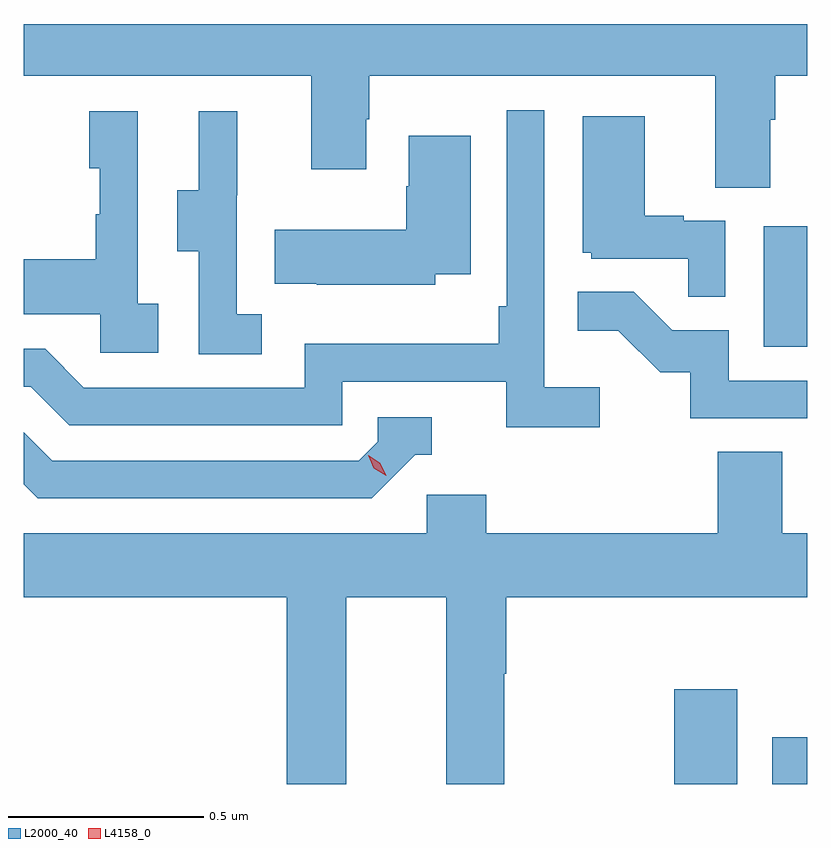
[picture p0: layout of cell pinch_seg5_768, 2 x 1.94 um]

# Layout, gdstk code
import gdstk
lib = gdstk.Library(unit=1e-6, precision=1e-09)
def R(c, l, rs):  # rectangles x0, y0, x1, y1
    for r in rs: c.add(gdstk.rectangle(r[:2], r[2:], *l))
def P(c, l, *ps):  # polygons
    for p in ps: c.add(gdstk.Polygon(p, *l))
L2000_40 = (2000, 40)
L4158_0 = (4158, 0)

pinch_seg5_768 = lib.new_cell('pinch_seg5_768')
R(pinch_seg5_768, L2000_40, [(854.222,913.559,854.383,913.801), (854.472,913.559,854.561,913.678), (854.45,914.676,854.561,914.983)])
P(pinch_seg5_768, L2000_40, [(854.467,915.256),(854.48,915.256),(854.48,915.368),(854.561,915.368),(854.561,915.5),(852.561,915.5),(852.561,915.368),(853.295,915.368),(853.295,915.129),(853.435,915.129),(853.435,915.257),(853.443,915.257),(853.443,915.368),(854.327,915.368),(854.327,915.082),(854.467,915.082)],
  [(854.032,914.572),(853.89,914.572),(853.89,915.28),(853.794,915.28),(853.794,914.779),(853.774,914.779),(853.774,914.683),(853.278,914.683),(853.278,914.571),(852.714,914.571),(852.615,914.67),(852.561,914.67),(852.561,914.574),(852.578,914.574),(852.677,914.475),(853.374,914.475),(853.374,914.586),(853.793,914.586),(853.793,914.47),(854.032,914.47)],
  [(853.168,914.759),(853.104,914.759),(853.104,915.063),(853.106,915.063),(853.106,915.277),(853.007,915.277),(853.007,915.075),(852.953,915.075),(852.953,914.92),(853.008,914.92),(853.008,914.656),(853.168,914.656)],
  [(852.904,914.786),(852.852,914.786),(852.852,915.277),(852.728,915.277),(852.728,915.132),(852.754,915.132),(852.754,915.014),(852.744,915.014),(852.744,914.899),(852.561,914.899),(852.561,914.759),(852.756,914.759),(852.756,914.661),(852.904,914.661)],
  [(854.352,914.997),(854.246,914.997),(854.246,915.01),(854.146,915.01),(854.146,915.265),(853.988,915.265),(853.988,914.916),(854.01,914.916),(854.01,914.901),(854.257,914.901),(854.257,914.803),(854.352,914.803)],
  [(853.611,914.861),(853.702,914.861),(853.702,915.214),(853.544,915.214),(853.544,915.086),(853.537,915.086),(853.537,914.974),(853.201,914.974),(853.201,914.837),(853.309,914.837),(853.309,914.834),(853.611,914.834)],
  [(854.561,914.589),(854.361,914.589),(854.361,914.718),(854.217,914.718),(854.119,914.816),(853.975,914.816),(853.975,914.717),(854.079,914.717),(854.186,914.61),(854.263,914.61),(854.263,914.493),(854.561,914.493)],
  [(853.56,914.4),(853.603,914.4),(853.603,914.496),(853.464,914.496),(853.464,914.433),(853.416,914.385),(852.633,914.385),(852.561,914.457),(852.561,914.324),(852.596,914.289),(853.449,914.289)],
  [(853.384,914.036),(853.64,914.036),(853.64,913.559),(853.788,913.559),(853.788,913.84),(853.793,913.84),(853.793,914.036),(854.561,914.036),(854.561,914.2),(854.498,914.2),(854.498,914.408),(854.333,914.408),(854.333,914.2),(853.742,914.2),(853.742,914.298),(853.59,914.298),(853.59,914.2),(852.561,914.2),(852.561,914.036),(853.232,914.036),(853.232,913.559),(853.384,913.559)])
P(pinch_seg5_768, L4158_0, [(853.486,914.346),(853.455,914.366),(853.44,914.398),(853.44,914.399),(853.44,914.399),(853.47,914.379),(853.486,914.347),(853.486,914.346)])

lib.write_gds('pinch_seg5_768.gds')
